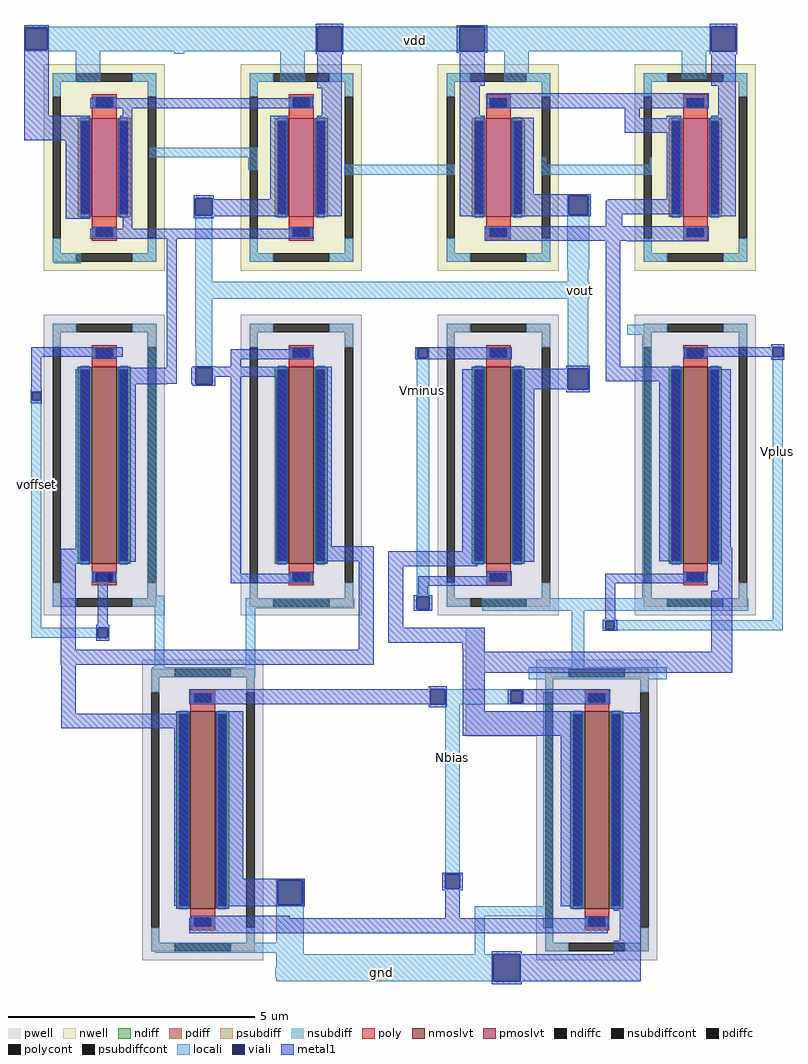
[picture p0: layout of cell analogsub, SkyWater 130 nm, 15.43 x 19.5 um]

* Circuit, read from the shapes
.subckt analogsub vdd Vplus voffset Vminus gnd Nbias vout
XM1 n1 voffset n2 gnd sky130_fd_pr__nfet_01v8_lvt w=4 l=0.5
XM2 gnd Nbias n2 gnd sky130_fd_pr__nfet_01v8_lvt w=4 l=0.5
XM3 n2 vout vout gnd sky130_fd_pr__nfet_01v8_lvt w=4 l=0.5
XM4 vout Vminus n3 gnd sky130_fd_pr__nfet_01v8_lvt w=4 l=0.5
XM5 gnd Nbias n3 gnd sky130_fd_pr__nfet_01v8_lvt w=4 l=0.5
XM6 n3 Vplus n4 gnd sky130_fd_pr__nfet_01v8_lvt w=4 l=0.5
XM7 n1 n1 vdd vdd sky130_fd_pr__pfet_01v8_lvt w=2 l=0.5
XM8 vdd n1 vout vdd sky130_fd_pr__pfet_01v8_lvt w=2 l=0.5
XM9 vout n4 vdd vdd sky130_fd_pr__pfet_01v8_lvt w=2 l=0.5
XM10 vdd n4 n4 vdd sky130_fd_pr__pfet_01v8_lvt w=2 l=0.5
.ends

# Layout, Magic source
magic
tech sky130A
magscale 1 2
<< pwell >>
rect 313 300 390 550
rect 313 210 390 240
rect 313 200 780 210
rect 313 110 790 200
rect 700 -73 790 110
rect 910 -72 1000 200
<< locali >>
rect -1480 2984 -290 2990
rect -1480 2896 -1474 2984
rect -1386 2896 -290 2984
rect -1480 2890 -290 2896
rect -190 2890 290 2990
rect 390 2890 1310 2990
rect -1270 2770 -1170 2890
rect -870 2880 -830 2890
rect -440 2770 -340 2890
rect 470 2770 570 2890
rect 1190 2780 1290 2890
rect -970 2460 -530 2500
rect -570 2410 -530 2460
rect 620 2430 640 2460
rect 1060 2430 1070 2460
rect -180 2390 270 2430
rect 620 2390 1070 2430
rect 726 2304 815 2310
rect -1360 2030 -1250 2070
rect -785 1955 -715 2225
rect 726 2226 731 2304
rect 809 2226 815 2304
rect 726 2006 815 2226
rect 728 1955 812 2006
rect -785 1885 815 1955
rect -1450 1507 -1410 1510
rect -1450 1473 -1447 1507
rect -1413 1473 -1410 1507
rect -1450 550 -1410 1473
rect -980 680 -940 1780
rect -785 1685 -715 1885
rect -783 1606 -716 1685
rect -783 1537 -716 1539
rect 115 1684 165 1690
rect 115 1646 121 1684
rect 159 1646 165 1684
rect -980 640 -910 680
rect 115 675 165 1646
rect 728 1602 812 1885
rect 970 1740 1070 1780
rect -1450 510 -1180 550
rect -950 390 -910 640
rect -580 630 -140 670
rect -580 390 -540 630
rect 1030 670 1070 1740
rect 380 620 1460 670
rect 745 390 795 620
rect 1560 580 1600 1650
rect 880 577 1600 580
rect 880 543 883 577
rect 917 543 1600 577
rect 880 540 1600 543
rect -960 350 -540 390
rect 570 340 1130 390
rect 230 294 550 300
rect 230 246 496 294
rect 544 246 550 294
rect 230 240 550 246
rect 230 -450 290 240
rect -455 -476 -345 -470
rect -455 -574 -449 -476
rect -351 -574 -345 -476
rect -455 -730 -345 -574
rect 629 -580 670 290
rect -949 -769 -345 -730
rect -800 -770 -345 -769
rect -455 -775 -345 -770
rect 350 -621 670 -580
rect 350 -775 391 -621
rect 629 -670 670 -621
rect -455 -830 425 -775
rect -460 -870 425 -830
rect -455 -885 425 -870
<< viali >>
rect -1474 2896 -1386 2984
rect -290 2890 -190 2990
rect 290 2890 390 2990
rect 1310 2890 1410 2990
rect -785 2225 -715 2295
rect 731 2226 809 2304
rect -1447 1473 -1413 1507
rect -783 1539 -716 1606
rect 121 1646 159 1684
rect 728 1518 812 1602
rect -1180 510 -1140 550
rect 115 625 165 675
rect 1560 1650 1600 1690
rect 883 543 917 577
rect 170 240 230 300
rect 496 246 544 294
rect -449 -574 -351 -476
rect 230 -510 290 -450
rect 425 -885 535 -775
<< metal1 >>
rect -1480 2984 -1380 2996
rect -1480 2896 -1474 2984
rect -1386 2896 -1380 2984
rect -1480 2630 -1380 2896
rect -296 2990 -184 3002
rect -296 2890 -290 2990
rect -190 2890 -184 2990
rect -296 2878 -184 2890
rect 278 2990 402 2996
rect 278 2890 290 2990
rect 390 2890 402 2990
rect 278 2884 402 2890
rect 1304 2990 1416 3002
rect 1304 2890 1310 2990
rect 1410 2890 1416 2990
rect -290 2740 -190 2878
rect -1210 2660 -310 2700
rect -1080 2630 -1040 2660
rect -270 2630 -190 2740
rect -1480 2530 -1210 2630
rect -1310 2210 -1210 2530
rect -1090 2220 -1040 2630
rect -1080 2170 -1040 2220
rect -791 2295 -709 2307
rect -791 2225 -785 2295
rect -715 2290 -709 2295
rect -480 2290 -410 2630
rect -715 2225 -410 2290
rect -791 2220 -410 2225
rect -290 2220 -190 2630
rect 290 2750 390 2884
rect 1304 2878 1416 2890
rect 1310 2750 1410 2878
rect 290 2630 370 2750
rect 400 2660 1300 2720
rect 290 2220 390 2630
rect 500 2310 590 2620
rect 960 2619 1020 2660
rect 1340 2630 1410 2750
rect 1130 2619 1188 2629
rect 960 2560 1190 2619
rect 970 2559 1190 2560
rect 500 2304 821 2310
rect 500 2226 731 2304
rect 809 2226 821 2304
rect 1130 2289 1188 2559
rect 891 2284 1189 2289
rect 500 2220 821 2226
rect 882 2230 1189 2284
rect -791 2213 -709 2220
rect 882 2180 950 2230
rect 1310 2220 1410 2630
rect -1210 2130 -310 2170
rect -1450 1650 -1080 1690
rect -1450 1519 -1410 1650
rect -900 1606 -860 2130
rect 391 2121 1300 2180
rect 109 1684 500 1690
rect -640 1640 -310 1680
rect 109 1646 121 1684
rect 159 1646 500 1684
rect 109 1640 500 1646
rect -795 1610 -704 1612
rect -640 1610 -600 1640
rect -795 1606 -410 1610
rect -1453 1507 -1407 1519
rect -1453 1473 -1447 1507
rect -1413 1473 -1407 1507
rect -1453 1461 -1407 1473
rect -1270 870 -1210 1600
rect -1330 810 -1210 870
rect -1093 1540 -860 1606
rect -1093 1539 -900 1540
rect -800 1539 -783 1606
rect -716 1570 -410 1606
rect -716 1539 -704 1570
rect -1093 817 -1026 1539
rect -795 1533 -704 1539
rect -1330 460 -1270 810
rect -640 770 -600 1570
rect -450 810 -410 1570
rect -290 880 -230 1610
rect 722 1602 818 1614
rect -290 820 -60 880
rect 300 860 390 1600
rect -1180 562 -1140 770
rect -640 730 -310 770
rect -1186 550 -1134 562
rect -1186 510 -1180 550
rect -1140 510 -1134 550
rect -1186 498 -1134 510
rect -120 460 -60 820
rect 0 810 390 860
rect 508 1518 728 1602
rect 812 1518 818 1602
rect 882 1610 941 2121
rect 970 2120 1300 2121
rect 1554 1690 1606 1702
rect 1200 1650 1560 1690
rect 1600 1650 1606 1690
rect 1554 1638 1606 1650
rect 882 1600 1189 1610
rect 882 1551 1190 1600
rect 508 818 592 1518
rect 722 1506 818 1518
rect 1100 820 1190 1551
rect 1300 875 1390 1600
rect 1300 820 1395 875
rect 1305 810 1395 820
rect 0 800 360 810
rect 0 550 60 800
rect 400 760 500 780
rect 120 720 500 760
rect 880 730 1280 770
rect 120 681 160 720
rect 103 675 177 681
rect 103 625 115 675
rect 165 625 177 675
rect 103 619 177 625
rect 880 583 920 730
rect 1340 700 1395 810
rect 871 577 929 583
rect 0 490 390 550
rect 871 543 883 577
rect 917 543 929 577
rect 871 537 929 543
rect 300 465 390 490
rect -1330 400 -60 460
rect 302 453 390 465
rect 1310 453 1395 700
rect -1329 200 -1270 400
rect 302 368 1395 453
rect 164 300 236 312
rect -810 240 170 300
rect 230 240 236 300
rect 164 228 236 240
rect 302 210 390 368
rect 484 294 900 300
rect 484 246 496 294
rect 544 246 900 294
rect 484 240 900 246
rect -860 200 -810 210
rect -1329 141 -810 200
rect -870 -579 -810 141
rect -860 -590 -810 -579
rect -700 -470 -590 210
rect 302 200 780 210
rect 915 200 1025 205
rect 302 112 790 200
rect 218 -450 302 -444
rect -700 -476 -339 -470
rect -700 -574 -449 -476
rect -351 -574 -339 -476
rect 218 -510 230 -450
rect 290 -510 302 -450
rect 218 -516 302 -510
rect -700 -580 -339 -574
rect -700 -590 -650 -580
rect -800 -630 -400 -620
rect 230 -630 290 -516
rect 700 -580 790 112
rect 910 -580 1025 200
rect 915 -600 1025 -580
rect -810 -690 890 -630
rect 940 -720 1025 -600
rect 419 -775 541 -763
rect 915 -775 1025 -720
rect 419 -885 425 -775
rect 535 -885 1025 -775
rect 419 -897 541 -885
use sky130_fd_pr__nfet_01v8_lvt_SMGWK2  XM112
transform 1 0 446 0 1 1210
box -246 -610 246 610
use sky130_fd_pr__nfet_01v8_lvt_SMGWK2  XM113
transform 1 0 1246 0 1 1210
box -246 -610 246 610
use sky130_fd_pr__nfet_01v8_lvt_SMGWK2  XM114
transform 1 0 846 0 1 -190
box -246 -610 246 610
use sky130_fd_pr__nfet_01v8_lvt_SMGWK2  XM117
transform 1 0 -1154 0 1 1210
box -246 -610 246 610
use sky130_fd_pr__nfet_01v8_lvt_SMGWK2  XM118
transform 1 0 -354 0 1 1210
box -246 -610 246 610
use sky130_fd_pr__nfet_01v8_lvt_SMGWK2  XM119
transform 1 0 -754 0 1 -190
box -246 -610 246 610
use sky130_fd_pr__pfet_01v8_lvt_PH9SS5  sky130_fd_pr__pfet_01v8_lvt_PH9SS5_0
transform 1 0 -1154 0 1 2419
box -246 -419 246 419
use sky130_fd_pr__pfet_01v8_lvt_PH9SS5  sky130_fd_pr__pfet_01v8_lvt_PH9SS5_1
transform 1 0 -354 0 1 2419
box -246 -419 246 419
use sky130_fd_pr__pfet_01v8_lvt_PH9SS5  sky130_fd_pr__pfet_01v8_lvt_PH9SS5_2
transform 1 0 446 0 1 2419
box -246 -419 246 419
use sky130_fd_pr__pfet_01v8_lvt_PH9SS5  sky130_fd_pr__pfet_01v8_lvt_PH9SS5_3
transform 1 0 1246 0 1 2419
box -246 -419 246 419
<< labels >>
rlabel locali -60 -880 0 -820 1 gnd
port 4 n
rlabel locali -1450 1110 -1410 1150 1 voffset
port 2 n
rlabel locali 745 1885 815 1955 1 vout
port 6 n
rlabel locali 1570 1250 1590 1280 1 Vplus
port 1 n
rlabel locali 130 1500 150 1530 1 Vminus
port 3 n
rlabel locali 100 2920 120 2950 1 vdd
port 0 n
rlabel locali 250 10 270 40 1 Nbias
port 5 n
<< end >>

# cell sky130_fd_pr__nfet_01v8_lvt_SMGWK2: kit device sky130_fd_pr__nfet_01v8_lvt, w 4.0 l 0.5 m 1 nf 1 diffcov 100 polycov 100 guard 1 glc 1 grc 1 gtc 1 gbc 1 tbcov 100 rlcov 100 topc 1 botc 1 poverlap 0 doverlap 1 lmin 0.15 wmin 0.42 compatible {sky130_fd_pr__nfet_01v8 sky130_fd_pr__nfet_01v8_lvt sky130_fd_bs_flash__special_sonosfet_star sky130_fd_pr__nfet_g5v0d10v5 sky130_fd_pr__nfet_05v0_nvt sky130_fd_pr__nfet_03v3_nvt} full_metal 1 viasrc 100 viadrn 100 viagate 100 viagb 0 viagr 0 viagl 0 viagt 0

# cell sky130_fd_pr__pfet_01v8_lvt_PH9SS5: kit device sky130_fd_pr__pfet_01v8_lvt, w 2 l 0.5 m 1 nf 1 diffcov 100 polycov 100 guard 1 glc 1 grc 1 gtc 1 gbc 1 tbcov 100 rlcov 100 topc 1 botc 1 poverlap 0 doverlap 1 lmin 0.35 wmin 0.42 compatible {sky130_fd_pr__pfet_01v8 sky130_fd_pr__pfet_01v8_lvt sky130_fd_pr__pfet_01v8_hvt sky130_fd_pr__pfet_g5v0d10v5} full_metal 1 viasrc 100 viadrn 100 viagate 100 viagb 0 viagr 0 viagl 0 viagt 0
